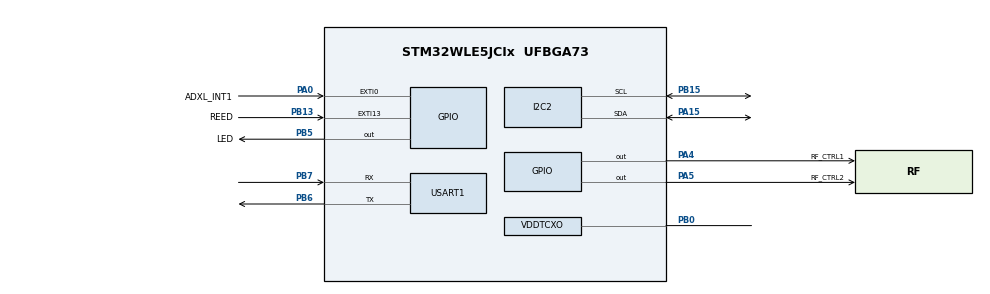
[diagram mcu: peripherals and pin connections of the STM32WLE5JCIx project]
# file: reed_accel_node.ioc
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Dma.Request0=USART1_TX
Dma.USART1_TX.0.Direction=DMA_MEMORY_TO_PERIPH
Dma.USART1_TX.0.EventEnable=DISABLE
Dma.USART1_TX.0.Instance=DMA1_Channel1
Dma.USART1_TX.0.MemDataAlignment=DMA_MDATAALIGN_BYTE
Dma.USART1_TX.0.MemInc=DMA_MINC_ENABLE
Dma.USART1_TX.0.Mode=DMA_NORMAL
Dma.USART1_TX.0.PeriphDataAlignment=DMA_PDATAALIGN_BYTE
Dma.USART1_TX.0.PeriphInc=DMA_PINC_DISABLE
Dma.USART1_TX.0.Polarity=HAL_DMAMUX_REQ_GEN_RISING
Dma.USART1_TX.0.Priority=DMA_PRIORITY_LOW
Dma.USART1_TX.0.RequestNumber=1
Dma.USART1_TX.0.SignalID=NONE
Dma.USART1_TX.0.SyncEnable=DISABLE
Dma.USART1_TX.0.SyncPolarity=HAL_DMAMUX_SYNC_NO_EVENT
Dma.USART1_TX.0.SyncRequestNumber=1
Dma.USART1_TX.0.SyncSignalID=NONE
I2C2.Timing=0x10805D88
Mcu.Family=STM32WL
Mcu.Name=STM32WLE5JCIx
Mcu.Package=UFBGA73
NVIC.DMA1_Channel1_IRQn=true\:0\:0\:false\:false\:true\:false\:true\:true
NVIC.EXTI0_IRQn=true\:0\:0\:false\:false\:true\:true\:true\:true
NVIC.EXTI15_10_IRQn=true\:0\:0\:false\:false\:true\:true\:true\:true
NVIC.PriorityGroup=NVIC_PRIORITYGROUP_4
NVIC.SUBGHZ_Radio_IRQn=true\:0\:0\:false\:false\:true\:true\:true\:true
NVIC.TIM17_IRQn=true\:15\:0\:false\:false\:true\:false\:true\:true
NVIC.TimeBase=TIM17_IRQn
NVIC.TimeBaseIP=TIM17
OSC_IN.Mode=HSE-TCXO
OSC_IN.Signal=RCC_OSC_IN
PA0.GPIO_Label=ADXL_INT1
PA0.GPIO_PuPd=GPIO_PULLDOWN
PA0.Signal=GPXTI0
PA15.Mode=I2C
PA15.Signal=I2C2_SDA
PA4.GPIO_Label=RF_CTRL1
PA4.Signal=GPIO_Output
PA5.GPIO_Label=RF_CTRL2
PA5.Signal=GPIO_Output
PB0-VDD_TCXO.Mode=HSE-TCXO
PB0-VDD_TCXO.Signal=VDDTCXO
PB13.GPIO_Label=REED
PB13.GPIO_ModeDefaultEXTI=GPIO_MODE_IT_RISING_FALLING
PB13.GPIO_PuPd=GPIO_PULLUP
PB13.Signal=GPXTI13
PB15.Mode=I2C
PB15.Signal=I2C2_SCL
PB5.GPIO_Label=LED
PB5.Signal=GPIO_Output
PB6.Mode=Asynchronous
PB6.Signal=USART1_TX
PB7.Mode=Asynchronous
PB7.Signal=USART1_RX
PC14-OSC32_IN.Mode=LSE-External-Oscillator
PC14-OSC32_IN.Signal=RCC_OSC32_IN
PC15-OSC32_OUT.Mode=LSE-External-Oscillator
PC15-OSC32_OUT.Signal=RCC_OSC32_OUT
ProjectManager.HeapSize=0x200
ProjectManager.StackSize=0x400
ProjectManager.TargetToolchain=STM32CubeIDE
RCC.AHBFreq_Value=48000000
RCC.APB1Freq_Value=48000000
RCC.APB1TimFreq_Value=48000000
RCC.APB2Freq_Value=48000000
RCC.APB2TimFreq_Value=48000000
RCC.APB3Freq_Value=48000000
RCC.CortexFreq_Value=48000000
RCC.HCLKFreq_Value=48000000
RCC.HSE_VALUE=32000000
RCC.HSI_VALUE=16000000
RCC.LSE_VALUE=32768
RCC.PLLN=24
RCC.SYSCLKFreq_VALUE=48000000
RCC.SYSCLKSource=RCC_SYSCLKSOURCE_PLLCLK
RCC.VCOOutputFreq_Value=96000000
RTC.Alarm-Alarm\ A=RTC_ALARM_A
RTC.AsynchPrediv=31
RTC.BinMode=RTC_BINARY_ONLY
SUBGHZ_PHY.USE_LPM=true
SUBGHZ_PHY.USE_RTC=true
SUBGHZ_PHY.USE_UART=true
SubGHz_Phy.BSP.number=2
SubGHz_Phy0.BSP.STBoard=false
SubGHz_Phy0.BSP.api=Unknown
SubGHz_Phy0.BSP.condition=\!SEM_SUBGHZ_USER_APPLICATION | SEM_SUBGHZ_USE_RTC
SubGHz_Phy0.BSP.instance=RTC
SubGHz_Phy0.BSP.ip=RTC
SubGHz_Phy0.BSP.mode=RTC Enabled
SubGHz_Phy0.BSP.name=RTC
SubGHz_Phy0.BSP.solution=RTC
SubGHz_Phy1.BSP.STBoard=false
SubGHz_Phy1.BSP.api=Unknown
SubGHz_Phy1.BSP.condition=\!SEM_SUBGHZ_USER_APPLICATION | SEM_SUBGHZ_USE_UART
SubGHz_Phy1.BSP.instance=USART1
SubGHz_Phy1.BSP.ip=(LPU|US)ART
SubGHz_Phy1.BSP.mode=Asynchronous
SubGHz_Phy1.BSP.name=USART
SubGHz_Phy1.BSP.solution=USART1
USART1.VirtualMode-Asynchronous=VM_ASYNC
VP_ADV_TRACE_VS_ADV_TRACE.Mode=ADV_TRACE_Enabled
VP_MISC_VS_MISC.Mode=MISC_Enabled
VP_RTC_VS_RTC_Activate.Mode=RTC_Enabled
VP_RTC_VS_RTC_Alarm_A_Intern.Mode=Alarm A
VP_RTC_VS_RTC_Calendar.Mode=RTC_Calendar
VP_SEQUENCER_VS_SEQUENCER.Mode=SEQUENCER_Enabled
VP_SUBGHZ_PHY_VS_SubGhzPhy.Mode=SubGhzPhy_Enabled
VP_SUBGHZ_VS_SUBGHZ.Mode=SUBGHZ_Activate
VP_SYS_VS_tim17.Mode=TIM17
VP_TIMER_VS_TIMER.Mode=TIMER_Enabled
VP_TINY_LPM_VS_TINY_LPM.Mode=TINY_LPM_Enabled
board=custom

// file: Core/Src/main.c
/* USER CODE BEGIN Header */
/**
 ******************************************************************************
 * @file           : main.c
 * @brief          : Main program body
 ******************************************************************************
 * @attention
 *
 * Copyright (c) 2026 STMicroelectronics.
 * All rights reserved.
 *
 * This software is licensed under terms that can be found in the LICENSE file
 * in the root directory of this software component.
 * If no LICENSE file comes with this software, it is provided AS-IS.
 *
 ******************************************************************************
 */
/* USER CODE END Header */
#include "main.h"
#include "dma.h"
#include "i2c.h"
#include "rtc.h"
#include "app_subghz_phy.h"
#include "usart.h"
#include "gpio.h"

/* USER CODE BEGIN Includes */
#include <stdio.h>
extern I2C_HandleTypeDef hi2c2;
/* USER CODE END Includes */

void SystemClock_Config(void);

int main(void) {

	/* MCU Configuration--------------------------------------------------------*/

	/* Reset of all peripherals, Initializes the Flash interface and the Systick. */
	HAL_Init();

	/* Configure the system clock */
	SystemClock_Config();

	/* Initialize all configured peripherals */
	MX_GPIO_Init();
	MX_DMA_Init();
	MX_USART1_UART_Init();
	MX_RTC_Init();
	MX_SubGHz_Phy_Init();
	MX_I2C2_Init();
	/* USER CODE BEGIN 2 */
	uint8_t adxl_init_data = 0x08;
	HAL_I2C_Mem_Write(&hi2c2, 0xA6, 0x2D, 1, &adxl_init_data, 1, 100);

	uint8_t val;
	// set standby mode to allow safe configuration
	val = 0x00;
	HAL_I2C_Mem_Write(&hi2c2, 0xA6, 0x2D, 1, &val, 1, 100);

	// set activity threshold
	val = 0x0F;
	HAL_I2C_Mem_Write(&hi2c2, 0xA6, 0x24, 1, &val, 1, 100);

	// enable ac coupling (ignore gravity) and enable x, y, z axes for activity
	val = 0xF0;
	HAL_I2C_Mem_Write(&hi2c2, 0xA6, 0x27, 1, &val, 1, 100);

	// map interrupts to int1 pin
	val = 0x00;
	HAL_I2C_Mem_Write(&hi2c2, 0xA6, 0x2F, 1, &val, 1, 100);

	// enable activity interrupt
	val = 0x10;
	HAL_I2C_Mem_Write(&hi2c2, 0xA6, 0x2E, 1, &val, 1, 100);

	// dummy read to clear any pending interrupts on start
	uint8_t dummy = 0;
	HAL_I2C_Mem_Read(&hi2c2, 0xA6, 0x30, 1, &dummy, 1, 100);

	// start measurement mode
	val = 0x08;
	HAL_I2C_Mem_Write(&hi2c2, 0xA6, 0x2D, 1, &val, 1, 100);
	/* USER CODE END 2 */

	/* Infinite loop */
	while (1) {
		MX_SubGHz_Phy_Process();

	}
}

void SystemClock_Config(void) {
	RCC_OscInitTypeDef RCC_OscInitStruct = { 0 };
	RCC_ClkInitTypeDef RCC_ClkInitStruct = { 0 };

	/** Configure LSE Drive Capability
	 */
	HAL_PWR_EnableBkUpAccess();
	__HAL_RCC_LSEDRIVE_CONFIG(RCC_LSEDRIVE_LOW);

	/** Configure the main internal regulator output voltage
	 */
	__HAL_PWR_VOLTAGESCALING_CONFIG(PWR_REGULATOR_VOLTAGE_SCALE1);

	/** Initializes the CPU, AHB and APB buses clocks
	 */
	RCC_OscInitStruct.OscillatorType = RCC_OSCILLATORTYPE_LSI
			| RCC_OSCILLATORTYPE_LSE | RCC_OSCILLATORTYPE_MSI;
	RCC_OscInitStruct.LSEState = RCC_LSE_ON;
	RCC_OscInitStruct.MSIState = RCC_MSI_ON;
	RCC_OscInitStruct.MSICalibrationValue = RCC_MSICALIBRATION_DEFAULT;
	RCC_OscInitStruct.MSIClockRange = RCC_MSIRANGE_6;
	RCC_OscInitStruct.LSIDiv = RCC_LSI_DIV1;
	RCC_OscInitStruct.LSIState = RCC_LSI_ON;
	RCC_OscInitStruct.PLL.PLLState = RCC_PLL_ON;
	RCC_OscInitStruct.PLL.PLLSource = RCC_PLLSOURCE_MSI;
	RCC_OscInitStruct.PLL.PLLM = RCC_PLLM_DIV1;
	RCC_OscInitStruct.PLL.PLLN = 24;
	RCC_OscInitStruct.PLL.PLLP = RCC_PLLP_DIV2;
	RCC_OscInitStruct.PLL.PLLR = RCC_PLLR_DIV2;
	RCC_OscInitStruct.PLL.PLLQ = RCC_PLLQ_DIV2;
	if (HAL_RCC_OscConfig(&RCC_OscInitStruct) != HAL_OK) {
		Error_Handler();
	}

	/** Configure the SYSCLKSource, HCLK, PCLK1 and PCLK2 clocks dividers
	 */
	RCC_ClkInitStruct.ClockType = RCC_CLOCKTYPE_HCLK3 | RCC_CLOCKTYPE_HCLK
			| RCC_CLOCKTYPE_SYSCLK | RCC_CLOCKTYPE_PCLK1 | RCC_CLOCKTYPE_PCLK2;
	RCC_ClkInitStruct.SYSCLKSource = RCC_SYSCLKSOURCE_PLLCLK;
	RCC_ClkInitStruct.AHBCLKDivider = RCC_SYSCLK_DIV1;
	RCC_ClkInitStruct.APB1CLKDivider = RCC_HCLK_DIV1;
	RCC_ClkInitStruct.APB2CLKDivider = RCC_HCLK_DIV1;
	RCC_ClkInitStruct.AHBCLK3Divider = RCC_SYSCLK_DIV1;

	if (HAL_RCC_ClockConfig(&RCC_ClkInitStruct, FLASH_LATENCY_2) != HAL_OK) {
		Error_Handler();
	}
}

/* USER CODE BEGIN 4 */
void Read_ADXL345(int16_t *x, int16_t *y, int16_t *z) {
	uint8_t data[6] = { 0 };
	uint8_t int_source = 0;

	HAL_Delay(5);

	HAL_I2C_Mem_Read(&hi2c2, 0xA6, 0x30, 1, &int_source, 1, 100);

	if (HAL_I2C_Mem_Read(&hi2c2, 0xA6, 0x32, 1, data, 6, 100) == HAL_OK) {
		*x = (int16_t) ((data[1] << 8) | data[0]);
		*y = (int16_t) ((data[3] << 8) | data[2]);
		*z = (int16_t) ((data[5] << 8) | data[4]);
	} else {
		*x = 9999;
		*y = 9999;
		*z = 9999; //error
	}
}
/* USER CODE END 4 */

void HAL_TIM_PeriodElapsedCallback(TIM_HandleTypeDef *htim) {
	if (htim->Instance == TIM17) {
		HAL_IncTick();
	}
}

void Error_Handler(void) {
	__disable_irq();
	while (1) {
	}
}
